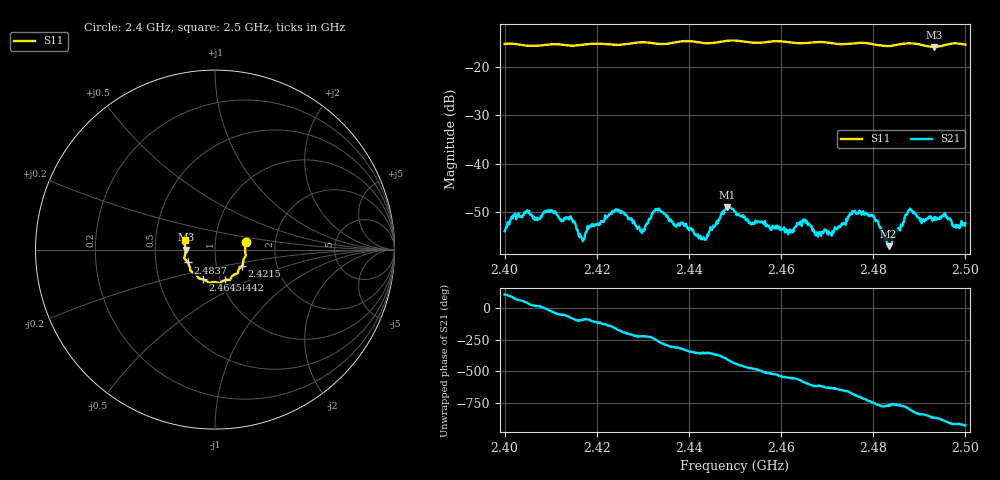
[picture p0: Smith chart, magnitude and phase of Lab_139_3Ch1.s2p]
# Hz S RI R 50
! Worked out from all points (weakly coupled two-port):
!   601 points, 2.4 GHz to 2.5 GHz, reference 50 ohm
!   highest |S21| = -49.15 dB at 2.4483 GHz (marker M1); lowest = -57.2 dB at 2.4833 GHz (marker M2)
!   lowest |S11| = -15.7 dB at 2.4932 GHz (marker M3), VSWR 1.39, Z = 35.9 - j0.0464 ohm
!   |S11| at or under -10 dB: start of sweep to end of sweep
!   S12 and S22 are empty: the file has one direction only
!   S11 on the Smith chart (normalised r, x): 2.4 GHz: 1.41, +0.12; 2.4215 GHz: 1.33, -0.25; 2.4442 GHz: 1.05, -0.37; 2.4645 GHz: 0.83, -0.29; 2.4837 GHz: 0.73, -0.11; 2.5 GHz: 0.71, +0.07
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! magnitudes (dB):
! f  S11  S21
! 2.4 GHz  -15.1  -54.1
! 2.4018 GHz  -15.1  -50.9
! 2.4102 GHz  -15.2  -49.7
! 2.4167 GHz  -15.3  -55.3
! 2.4215 GHz  -15.1  -52.1
! 2.4245 GHz  -15.3  -49.9
! 2.4298 GHz  -14.8  -54.5
! 2.4333 GHz  -15.1  -49.8
! 2.4442 GHz  -15.0  -55.1
! 2.4483 GHz  -14.4  -49.2
! 2.45 GHz  -14.4  -50.0
! 2.4613 GHz  -14.7  -54.1
! 2.4645 GHz  -15.0  -53.0
! 2.4667 GHz  -14.8  -53.0
! 2.471 GHz  -14.9  -55.1
! 2.4773 GHz  -14.9  -50.0
! 2.4805 GHz  -15.3  -52.0
! 2.4833 GHz  -15.6  -57.2
! 2.4837 GHz  -15.5  -57.0
! 2.488 GHz  -15.0  -49.4
! 2.4932 GHz  -15.7  -51.2
! 2.5 GHz  -15.3  -52.5
